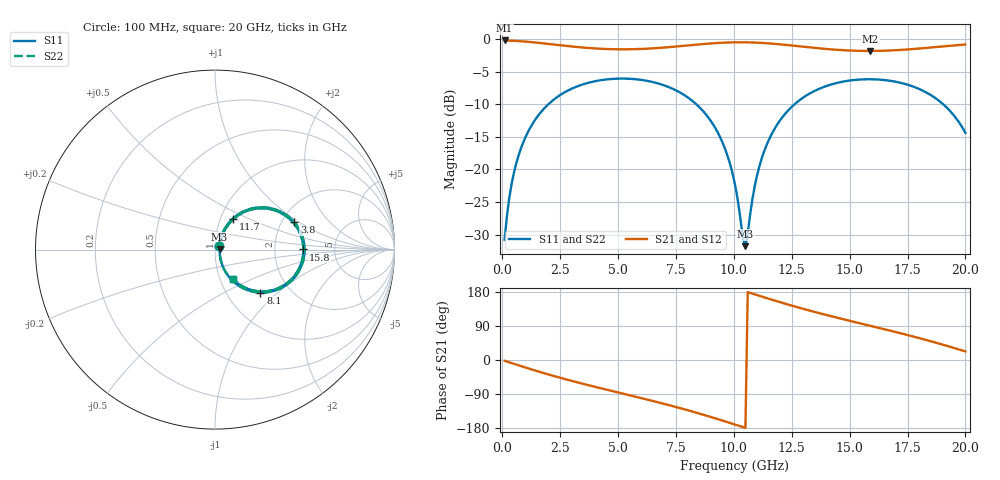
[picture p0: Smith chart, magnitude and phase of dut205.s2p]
! Touchstone file exported from HFSS 2026.1.0
!  File:  C:/ffzhzh/LocalFiles/Ansys_Project_Files/temp_train_TSV_RDL_205_1783060920_36532.aedt
!  Generated:  02:53:38 PM Jul  3, 2026
!  Design:  TSV_RDL
!  Project:  temp_train_TSV_RDL_205_1783060920_36532
! Variables:
!  h_bsmrdl = 5.2um
!  h_ox = 20um
!  h_rdl = 5um
!  h_sub = 91.82um
!  h_tmrdl = 5.97um
!  h_tsv = 91.82um
!  h_via = 3um
!  l_bsmrdl = 586.27um
!  l_sub = 5432.96um
!  l_tmrdl = 794.56um
!  m_sub = 200um
!  pitch = 47.77um
!  r_tsv = 14.85um
!  s_tmrdl = 10um
!  w_bsmrdl = 10.01um
!  w_sub = 500um
!  w_tmrdl = 21.96um
!  x_tsv_center1 = 805.54um
!  x_tsv_center2 = 1401.82um
!  x_tsv_center3 = 2218.34um
!  x_tsv_center4 = 2814.62um
!  x_tsv_center5 = 3631.14um
!  x_tsv_center6 = 4227.42um
# GHz S MA R 50.000000
! Terminal data exported
! Port[1] = TM_RDL1_1_T1
! Port[2] = TM_RDL5_1_T1
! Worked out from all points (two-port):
!   200 points, 100 MHz to 20 GHz, reference 50 ohm
!   highest |S21| = -0.19 dB at 100 MHz (marker M1); lowest = -1.8 dB at 15.9 GHz (marker M2)
!   |S21| within 3 dB of the highest: start of sweep to end of sweep
!   lowest |S11| = -31.8 dB at 10.5 GHz (marker M3), VSWR 1.05, Z = 52.6 + j0.26 ohm
!   |S11| at or under -10 dB: start of sweep to 1.987 GHz; 8.382 GHz to 12.62 GHz (4.236 GHz wide, 40.3 % of centre); 19.04 GHz to end of sweep
!   |S22| runs from -31.8 to -6.0 dB; largest |S21 - S12| = 2.3e-14
!   S11 on the Smith chart (normalised r, x): 100 MHz: 1.04, +0.04; 3.8 GHz: 2.33, +0.91; 8.1 GHz: 1.43, -0.78; 11.7 GHz: 1.15, +0.40; 15.8 GHz: 2.94, +0.01; 20 GHz: 1.15, -0.39
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0.1  0.02881 39.8  0.9783 -2.1  0.9783 -2.1  0.02881 39.8
! Gamma 0 0 0 0
! Port Impedance 50 0 50 0
0.3  0.06024 61.4  0.9754 -6.1  0.9754 -6.1  0.06024 61.4
0.5  0.09388 65.1  0.9719 -10.1  0.9719 -10.1  0.09388 65.1
1.1  0.1924 60.6  0.9558 -21.7  0.9558 -21.7  0.1924 60.6
2.1  0.3297 45.1  0.916 -40.1  0.916 -40.1  0.3297 45.1
3.5  0.4511 23.5  0.8627 -63.1  0.8627 -63.1  0.4511 23.5
3.8  0.4668 19.1  0.8544 -67.7  0.8544 -67.7  0.4669 19.1
5.3  0.4983 -2.3  0.8364 -90.1  0.8364 -90.1  0.4983 -2.3
6.8  0.4537 -23.8  0.8578 -112.7  0.8578 -112.7  0.4537 -23.7
8.1  0.348 -43.4  0.8989 -134.1  0.8989 -134.1  0.3481 -43.4
9.4  0.1779 -62.3  0.9378 -157.8  0.9378 -157.8  0.1779 -62.3
10.1  0.06871 -61.8  0.9472 -171.2  0.9472 -171.2  0.06876 -61.8
10.4  0.02902 -27.6  0.9475 -177.1  0.9475 -177.1  0.02909 -27.6
10.5  0.02574 5.5  0.9471 -179.0  0.9471 -179.0  0.02579 5.4
11  0.08956 62.8  0.9411 171.3  0.9411 171.3  0.08954 62.8
11.7  0.1964 59.1  0.9234 158.0  0.9234 158.0  0.1964 59.1
13.4  0.3937 34.2  0.8607 128.3  0.8607 128.3  0.3936 34.2
15.8  0.4928 0.1  0.8127 91.6  0.8127 91.6  0.4928 0.1
15.9  0.4928 -1.3  0.8126 90.1  0.8126 90.1  0.4927 -1.3
16.7  0.481 -12.4  0.8185 78.2  0.8185 78.2  0.4809 -12.3
18.7  0.3535 -41.3  0.871 46.2  0.871 46.2  0.3535 -41.3
20  0.1911 -58.7  0.9106 22.6  0.9106 22.6  0.1911 -58.6
